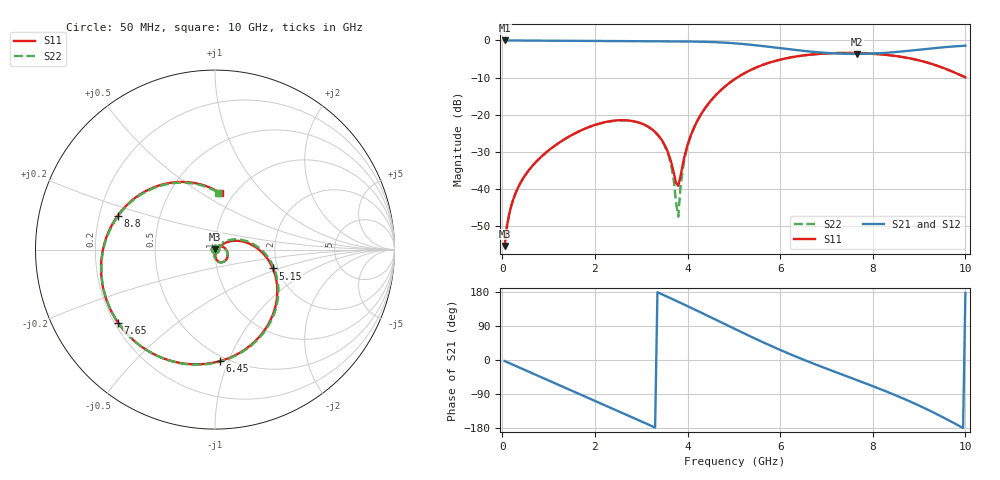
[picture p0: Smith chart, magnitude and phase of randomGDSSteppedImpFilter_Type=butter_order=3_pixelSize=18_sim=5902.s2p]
! freq	dB(S11)	phase(S11)	dB(S12)	phase(S12)
!  dB(S21)	phase(S21)	dB(S22)	phase(S22)
!S-par simulation data
#  GHz  S  DB  R 50
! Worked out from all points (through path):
!   200 points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, 50 MHz to 10 GHz, reference 50 ohm
!   highest |S21| = -0.01 dB at 50 MHz (marker M1); lowest = -3.6 dB at 7.65 GHz (marker M2)
!   group delay of S21, straight-line fit = 150 ps
!   lowest |S11| = -55.4 dB at 50 MHz (marker M3), VSWR 1.00, Z = 50.1 + j0.159 ohm
!   |S11| at or under -10 dB: start of sweep to 5.072 GHz
!   |S22| runs from -55.4 to -3.4 dB; largest |S21 - S12| = 0
!   S11 on the Smith chart (normalised r, x): 50 MHz: 1.00, +0.00; 5.15 GHz: 1.88, -0.45; 6.45 GHz: 0.46, -0.94; 7.65 GHz: 0.21, -0.32; 8.8 GHz: 0.28, +0.16; 10 GHz: 0.86, +0.61
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0.05  -55.40 69.7  -0.01 -2.7  -0.01 -2.7  -55.43 69.3
0.2  -44.29 74.7  -0.02 -10.8  -0.02 -10.8  -44.28 74.4
0.5  -36.21 62.4  -0.04 -26.9  -0.04 -26.9  -36.21 61.9
1.15  -28.22 30.0  -0.08 -61.7  -0.08 -61.7  -28.23 28.9
1.75  -23.95 -1.7  -0.12 -94.0  -0.12 -94.0  -23.97 -3.3
2.65  -21.50 -49.2  -0.20 -142.7  -0.20 -142.7  -21.55 -51.8
3.4  -26.06 -83.9  -0.24 176.1  -0.24 176.1  -26.20 -90.7
3.65  -32.93 -81.5  -0.25 162.1  -0.25 162.1  -33.82 -98.6
3.8  -39.16 -16.5  -0.26 153.6  -0.26 153.6  -47.49 2.2
3.9  -33.19 26.6  -0.27 147.9  -0.27 147.9  -34.30 46.3
4.1  -24.63 34.2  -0.30 136.3  -0.30 136.3  -24.78 42.1
4.6  -14.87 12.5  -0.47 107.0  -0.47 107.0  -14.89 15.5
5.05  -10.17 -12.4  -0.80 80.3  -0.80 80.3  -10.18 -10.5
5.15  -9.39 -18.1  -0.91 74.4  -0.91 74.4  -9.40 -16.3
5.8  -5.86 -54.0  -1.78 37.4  -1.78 37.4  -5.86 -52.8
6.45  -4.13 -87.3  -2.74 3.5  -2.74 3.5  -4.13 -86.3
6.7  -3.77 -99.3  -3.06 -8.6  -3.06 -8.6  -3.77 -98.3
7.65  -3.39 -142.9  -3.62 -52.7  -3.62 -52.7  -3.39 -142.0
8.35  -3.97 -175.9  -3.27 -85.9  -3.27 -85.9  -3.97 -175.0
8.8  -4.83 160.7  -2.76 -109.2  -2.76 -109.2  -4.83 161.7
9.4  -6.85 125.6  -1.98 -144.0  -1.98 -144.0  -6.86 126.8
10  -9.93 85.3  -1.41 177.0  -1.41 177.0  -9.94 86.8
